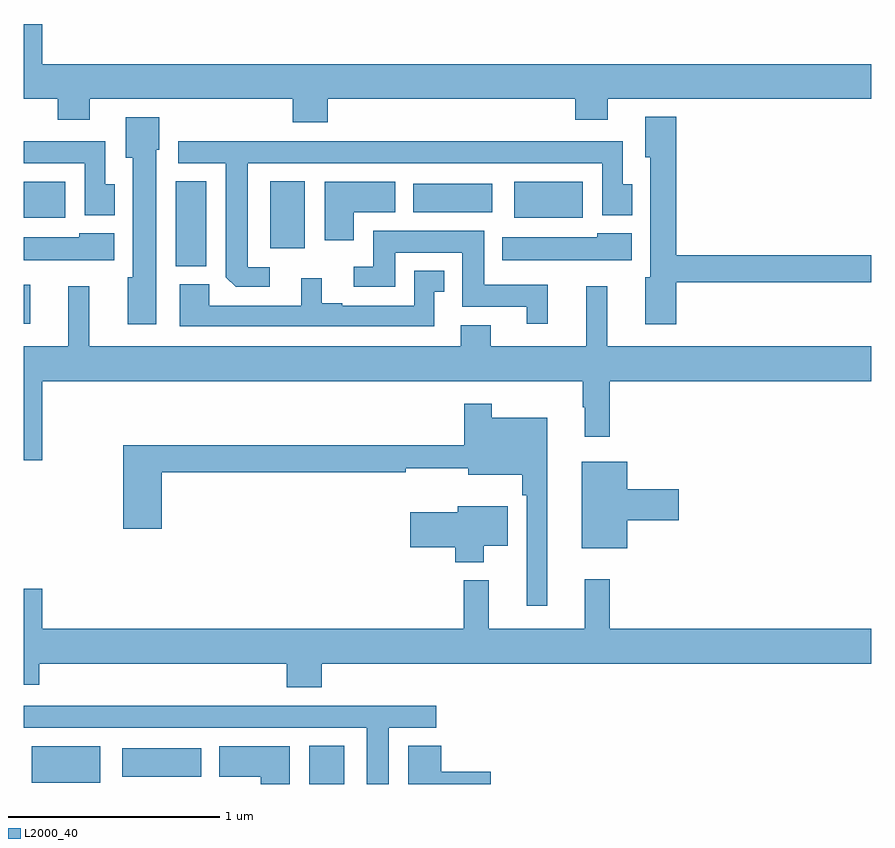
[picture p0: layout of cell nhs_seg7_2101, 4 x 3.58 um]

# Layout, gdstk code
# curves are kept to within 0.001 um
import gdstk
lib = gdstk.Library(unit=1e-6, precision=1e-09)
def R(c, l, rs):  # rectangles x0, y0, x1, y1
    for r in rs: c.add(gdstk.rectangle(r[:2], r[2:], *l))
def P(c, l, *ps):  # polygons
    for p in ps: c.add(gdstk.Polygon(p, *l))
L2000_40 = (2000, 40)

nhs_seg7_2101 = lib.new_cell('nhs_seg7_2101')
R(nhs_seg7_2101, L2000_40, [(250.349,1048,250.513,1048.18), (249.038,1048.007,249.361,1048.177), (249.465,1048.034,249.838,1048.168), (249,1050.171,249.032,1050.355), (249.719,1050.443,249.862,1050.844), (250.163,1050.528,250.327,1050.844), (249,1050.671,249.196,1050.841), (251.315,1050.671,251.638,1050.841), (250.838,1050.698,251.212,1050.832)])
P(nhs_seg7_2101, L2000_40, [(250.436,1051.232),(251.603,1051.232),(251.603,1051.133),(251.755,1051.133),(251.755,1051.232),(253,1051.232),(253,1051.396),(249.088,1051.396),(249.088,1051.585),(249,1051.585),(249,1051.232),(249.161,1051.232),(249.161,1051.133),(249.313,1051.133),(249.313,1051.232),(250.271,1051.232),(250.271,1051.121),(250.436,1051.121)],
  [(252.08,1050.366),(253,1050.366),(253,1050.494),(252.08,1050.494),(252.08,1051.147),(251.933,1051.147),(251.933,1050.957),(251.957,1050.957),(251.957,1050.39),(251.933,1050.39),(251.933,1050.168),(252.08,1050.168)],
  [(249.625,1050.993),(249.64,1050.993),(249.64,1051.144),(249.482,1051.144),(249.482,1050.953),(249.515,1050.953),(249.515,1050.39),(249.491,1050.39),(249.491,1050.168),(249.625,1050.168)],
  [(250.162,1050.438),(250.057,1050.438),(250.057,1050.929),(251.73,1050.929),(251.73,1050.684),(251.872,1050.684),(251.872,1050.828),(251.827,1050.828),(251.827,1051.033),(249.729,1051.033),(249.729,1050.929),(249.953,1050.929),(249.954,1050.391),(250,1050.345),(250.162,1050.345)],
  [(249.43,1050.828),(249.385,1050.828),(249.385,1051.033),(249,1051.033),(249,1050.929),(249.288,1050.929),(249.288,1050.684),(249.43,1050.684)],
  [(250.558,1050.698),(250.753,1050.698),(250.753,1050.841),(250.421,1050.841),(250.421,1050.564),(250.558,1050.564)],
  [(251.474,1050.355),(251.173,1050.355),(251.173,1050.61),(250.649,1050.61),(250.649,1050.441),(250.557,1050.441),(250.557,1050.345),(250.753,1050.345),(250.753,1050.506),(251.069,1050.506),(251.069,1050.251),(251.375,1050.251),(251.375,1050.171),(251.474,1050.171)],
  [(249.427,1050.598),(249.264,1050.598),(249.264,1050.58),(249,1050.58),(249,1050.47),(249.427,1050.47)],
  [(251.869,1050.598),(251.706,1050.598),(251.706,1050.58),(251.258,1050.58),(251.258,1050.47),(251.869,1050.47)],
  [(250.938,1050.321),(250.984,1050.321),(250.984,1050.421),(250.842,1050.421),(250.842,1050.255),(250.504,1050.255),(250.504,1050.268),(250.408,1050.268),(250.408,1050.385),(250.31,1050.385),(250.31,1050.255),(249.876,1050.255),(249.876,1050.358),(249.737,1050.358),(249.737,1050.159),(250.938,1050.159)],
  [(249.088,1049.9),(251.637,1049.9),(251.637,1049.777),(251.648,1049.777),(251.648,1049.637),(251.765,1049.637),(251.765,1049.9),(253,1049.9),(253,1050.064),(251.753,1050.064),(251.753,1050.349),(251.654,1050.349),(251.654,1050.064),(251.203,1050.064),(251.203,1050.163),(251.063,1050.163),(251.063,1050.064),(249.311,1050.064),(249.311,1050.349),(249.212,1050.349),(249.212,1050.064),(249,1050.064),(249,1049.526),(249.088,1049.526)],
  [(251.47,1049.728),(251.209,1049.728),(251.209,1049.794),(251.08,1049.794),(251.08,1049.599),(249.47,1049.599),(249.47,1049.205),(249.653,1049.205),(249.653,1049.47),(250.803,1049.47),(250.803,1049.489),(251.099,1049.489),(251.099,1049.459),(251.353,1049.459),(251.353,1049.363),(251.373,1049.363),(251.373,1048.842),(251.47,1048.842)],
  [(251.848,1049.243),(252.091,1049.243),(252.091,1049.39),(251.848,1049.39),(251.848,1049.521),(251.633,1049.521),(251.633,1049.111),(251.848,1049.111)],
  [(251.17,1049.123),(251.284,1049.123),(251.284,1049.311),(251.048,1049.311),(251.048,1049.281),(250.824,1049.281),(250.824,1049.116),(251.036,1049.116),(251.036,1049.045),(251.17,1049.045)],
  [(250.406,1048.568),(253,1048.568),(253,1048.732),(251.765,1048.732),(251.765,1048.966),(251.648,1048.966),(251.648,1048.732),(251.195,1048.732),(251.195,1048.96),(251.077,1048.96),(251.077,1048.732),(249.088,1048.732),(249.088,1048.921),(249,1048.921),(249,1048.469),(249.074,1048.469),(249.074,1048.568),(250.241,1048.568),(250.241,1048.457),(250.406,1048.457)],
  [(250.723,1048.265),(250.948,1048.265),(250.948,1048.369),(249,1048.369),(249,1048.265),(250.619,1048.265),(250.619,1048),(250.723,1048)],
  [(251.203,1048.058),(250.97,1048.058),(250.97,1048.18),(250.814,1048.18),(250.814,1048),(251.203,1048)],
  [(250.255,1048.177),(249.923,1048.177),(249.923,1048.034),(250.118,1048.034),(250.118,1048),(250.255,1048)])

lib.write_gds('nhs_seg7_2101.gds')
